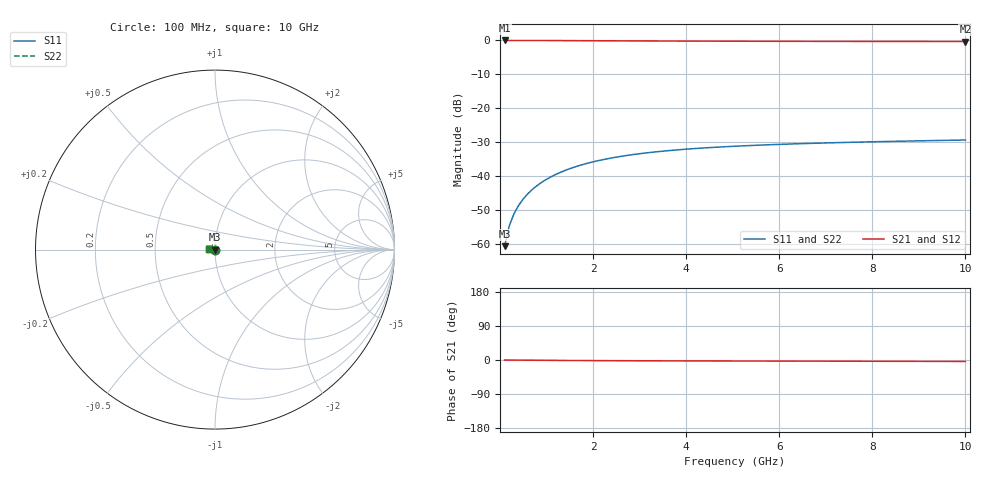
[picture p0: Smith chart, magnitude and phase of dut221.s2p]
! Touchstone file exported from HFSS 2024.1.0
!  File:  C:/UserFiles/LocalFiles/RDL_TSV_Batchsim/temp_TSV1_221_1779387748.aedt
!  Generated:  02:28:00 AM May 22, 2026
!  Design:  TSV1
!  Project:  temp_TSV1_221_1779387748
!  Setup:  Setup1
!  Solution:  Sweep
! Variables:
!  dtsv = 10.71um
!  hbump = 3um
!  htsv = 56.57um
!  lrdl = 252.1521522um
!  p = 40
!  p1 = 50.2um
!  t = 500um
!  trdl = 3um
!  wrdl = 24.89489489um
# GHz S MA R 50.000000
! Terminal data exported
! Port[1] = TSV22_T1
! Port[2] = TSV22_T2
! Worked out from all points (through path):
!   100 points, 100 MHz to 10 GHz, reference 50 ohm
!   highest |S21| = 0.00 dB at 100 MHz (marker M1); lowest = -0.3 dB at 10 GHz (marker M2)
!   lowest |S11| = -60.6 dB at 100 MHz (marker M3), VSWR 1.00, Z = 50 - j0.0929 ohm
!   |S11| at or under -10 dB: start of sweep to end of sweep
!   |S22| runs from -60.6 to -29.3 dB; largest |S21 - S12| = 7.1e-15
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0.1  0.0009318 -85.5  0.9999 -0.1  0.9999 -0.1  0.0009318 -85.5
! Gamma 0 0 0 0
! Port Impedance 50 0 50 0
0.2  0.001857 -90.3  0.9998 -0.2  0.9998 -0.2  0.001857 -90.3
0.3  0.002783 -93.1  0.9996 -0.3  0.9996 -0.3  0.002783 -93.1
0.4  0.003706 -95.5  0.9994 -0.4  0.9994 -0.4  0.003706 -95.5
0.5  0.004621 -97.6  0.9991 -0.5  0.9991 -0.5  0.004621 -97.6
0.6  0.005526 -99.7  0.9988 -0.6  0.9988 -0.6  0.005526 -99.7
0.7  0.006418 -101.7  0.9984 -0.6  0.9984 -0.6  0.006418 -101.7
0.8  0.007296 -103.6  0.998 -0.7  0.998 -0.7  0.007296 -103.6
0.9  0.008156 -105.4  0.9975 -0.8  0.9975 -0.8  0.008156 -105.4
1.1  0.009824 -109.0  0.9964 -1.0  0.9964 -1.0  0.009824 -109.0
1.4  0.01217 -114.2  0.9947 -1.2  0.9947 -1.2  0.01217 -114.2
1.6  0.01363 -117.4  0.9934 -1.3  0.9934 -1.3  0.01363 -117.4
1.8  0.015 -120.5  0.992 -1.4  0.992 -1.4  0.015 -120.5
2.1  0.01689 -124.9  0.99 -1.6  0.99 -1.6  0.01689 -124.9
2.5  0.0191 -130.3  0.9873 -1.8  0.9873 -1.8  0.0191 -130.3
2.9  0.02101 -135.2  0.9847 -2.0  0.9847 -2.0  0.02101 -135.2
3.4  0.02303 -140.8  0.9818 -2.2  0.9818 -2.2  0.02303 -140.8
4.2  0.02559 -148.4  0.9778 -2.4  0.9778 -2.4  0.02559 -148.4
5.1  0.02776 -155.6  0.9742 -2.6  0.9742 -2.6  0.02776 -155.6
6.7  0.0305 -165.9  0.9696 -3.0  0.9696 -3.0  0.0305 -165.9
8.4  0.03258 -174.6  0.9665 -3.4  0.9665 -3.4  0.03258 -174.6
10  0.03415 178.6  0.9644 -3.8  0.9644 -3.8  0.03415 178.6
